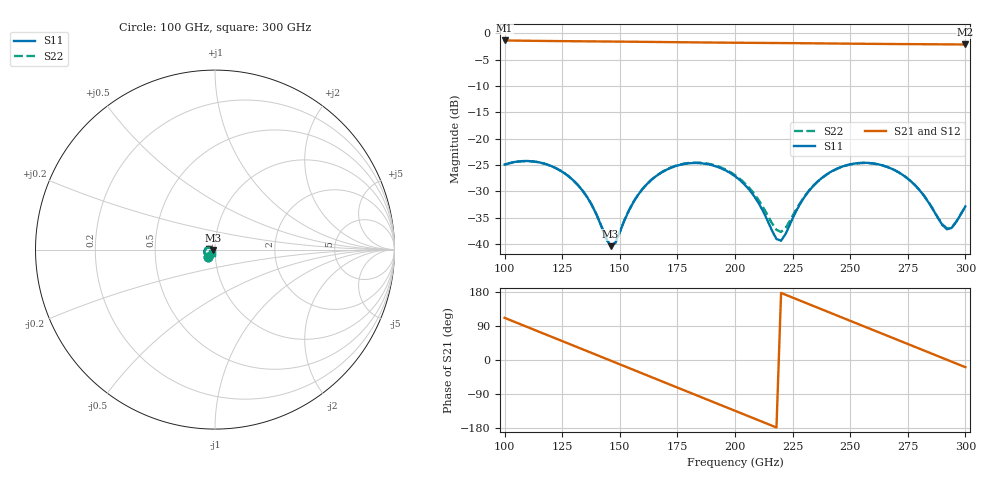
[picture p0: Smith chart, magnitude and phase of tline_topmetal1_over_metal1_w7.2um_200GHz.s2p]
#  GHZ S DB R 50
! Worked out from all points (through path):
!   101 points, 100 GHz to 300 GHz, reference 50 ohm
!   highest |S21| = -1.36 dB at 100 GHz (marker M1); lowest = -2.1 dB at 300 GHz (marker M2)
!   group delay of S21, straight-line fit = 6.81 ps
!   lowest |S11| = -40.4 dB at 146 GHz (marker M3), VSWR 1.02, Z = 49.1 - j0.226 ohm
!   |S11| at or under -10 dB: start of sweep to end of sweep
!   |S22| runs from -40.4 to -24.3 dB; largest |S21 - S12| = 9.1e-14
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100  -24.91 -131.4  -1.36 111.3  -1.36 111.3  -24.96 -132.3
108  -24.24 -150.0  -1.40 91.6  -1.40 91.6  -24.28 -150.7
116  -24.59 -168.3  -1.45 72.0  -1.45 72.0  -24.60 -168.8
126  -26.56 170.4  -1.49 47.5  -1.49 47.5  -26.56 170.0
134  -29.96 157.0  -1.52 27.9  -1.52 27.9  -29.94 156.8
146  -40.40 -166.0  -1.56 -1.6  -1.56 -1.6  -40.39 -166.4
148  -39.79 -141.4  -1.57 -6.5  -1.57 -6.5  -39.80 -141.6
158  -30.61 -115.9  -1.61 -31.1  -1.61 -31.1  -30.59 -115.7
168  -26.45 -131.7  -1.66 -55.6  -1.66 -55.6  -26.40 -131.4
176  -24.98 -147.8  -1.69 -75.2  -1.69 -75.2  -24.91 -147.3
184  -24.62 -164.5  -1.73 -94.8  -1.73 -94.8  -24.54 -163.8
200  -27.12 163.9  -1.79 -134.0  -1.79 -134.0  -26.91 165.7
210  -32.03 152.6  -1.82 -158.5  -1.82 -158.5  -31.48 155.8
218  -39.04 -178.4  -1.85 -178.1  -1.85 -178.1  -37.29 -178.9
220  -39.36 -156.8  -1.85 177.0  -1.85 177.0  -37.68 -162.2
234  -28.94 -124.1  -1.90 142.6  -1.90 142.6  -28.94 -128.5
244  -25.74 -140.6  -1.94 118.1  -1.94 118.1  -25.78 -143.5
252  -24.70 -156.1  -1.98 98.5  -1.98 98.5  -24.74 -158.4
268  -25.69 173.1  -2.03 59.4  -2.03 59.4  -25.71 171.4
280  -29.71 156.6  -2.07 30.0  -2.07 30.0  -29.70 155.3
292  -37.18 -170.5  -2.10 0.6  -2.10 0.6  -37.04 -172.3
300  -32.85 -129.4  -2.13 -19.0  -2.13 -19.0  -32.85 -131.4
